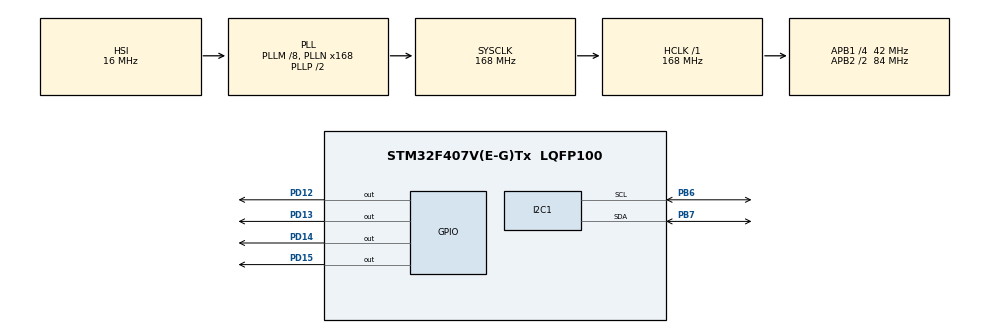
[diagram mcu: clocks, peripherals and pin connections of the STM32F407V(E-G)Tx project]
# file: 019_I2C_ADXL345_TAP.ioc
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I2C1.I2C_Mode=I2C_Fast
Mcu.Family=STM32F4
Mcu.Name=STM32F407V(E-G)Tx
Mcu.Package=LQFP100
NVIC.PriorityGroup=NVIC_PRIORITYGROUP_4
PB6.Mode=I2C
PB6.Signal=I2C1_SCL
PB7.Mode=I2C
PB7.Signal=I2C1_SDA
PD12.Signal=GPIO_Output
PD13.Signal=GPIO_Output
PD14.Signal=GPIO_Output
PD15.Signal=GPIO_Output
ProjectManager.HeapSize=0x200
ProjectManager.StackSize=0x400
ProjectManager.TargetToolchain=STM32CubeIDE
RCC.48MHZClocksFreq_Value=84000000
RCC.AHBFreq_Value=168000000
RCC.APB1CLKDivider=RCC_HCLK_DIV4
RCC.APB1Freq_Value=42000000
RCC.APB1TimFreq_Value=84000000
RCC.APB2CLKDivider=RCC_HCLK_DIV2
RCC.APB2Freq_Value=84000000
RCC.APB2TimFreq_Value=168000000
RCC.CortexFreq_Value=168000000
RCC.HCLKFreq_Value=168000000
RCC.HSE_VALUE=25000000
RCC.HSI_VALUE=16000000
RCC.LSE_VALUE=32768
RCC.PLLM=8
RCC.PLLN=168
RCC.SYSCLKFreq_VALUE=168000000
RCC.SYSCLKSource=RCC_SYSCLKSOURCE_PLLCLK
RCC.VCOOutputFreq_Value=336000000
board=custom

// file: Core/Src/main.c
/* USER CODE BEGIN Header */
/**
  ******************************************************************************
  * @file           : main.c
  * @brief          : Main program body
  ******************************************************************************
  * @attention
  *
  * Copyright (c) 2023 STMicroelectronics.
  * All rights reserved.
  *
  * This software is licensed under terms that can be found in the LICENSE file
  * in the root directory of this software component.
  * If no LICENSE file comes with this software, it is provided AS-IS.
  *
  ******************************************************************************
  */
/* USER CODE END Header */
#include "main.h"

/* USER CODE BEGIN Includes */
uint8_t address;
uint8_t myDatas[6];

int16_t x,y,z;
float x_converted;

uint8_t status;
uint8_t data_rec;

#define ADXL345_address 0xa6

/* USER CODE END Includes */

I2C_HandleTypeDef hi2c1;

/* USER CODE BEGIN PV */
void find_I2C_Address();
void ADXL345_Write(uint8_t wRegister, uint8_t value);
uint8_t ADXL345_Read(uint8_t rRegister, uint8_t numberOfBytes);
void ADXL345_Init();

/* USER CODE END PV */

void SystemClock_Config(void);
static void MX_GPIO_Init(void);
static void MX_I2C1_Init(void);

int main(void)
{

  /* MCU Configuration--------------------------------------------------------*/

  /* Reset of all peripherals, Initializes the Flash interface and the Systick. */
  HAL_Init();

  /* Configure the system clock */
  SystemClock_Config();

  /* Initialize all configured peripherals */
  MX_GPIO_Init();
  MX_I2C1_Init();
  /* USER CODE BEGIN 2 */
  find_I2C_Address();
  ADXL345_Init();

  /* USER CODE END 2 */

  /* Infinite loop */
  while (1)
  {

    /* USER CODE BEGIN 3 */
	 status = ADXL345_Read(0x30, 1);

	 if((status >> 5) & 0x01) // double tap control
		 HAL_GPIO_TogglePin(GPIOD, GPIO_PIN_13 | GPIO_PIN_15);

	 if((status >> 6) & 0x01) // single tap control
		 HAL_GPIO_TogglePin(GPIOD, GPIO_PIN_12 | GPIO_PIN_14);

  }
  /* USER CODE END 3 */
}

void SystemClock_Config(void)
{
  RCC_OscInitTypeDef RCC_OscInitStruct = {0};
  RCC_ClkInitTypeDef RCC_ClkInitStruct = {0};

  /** Configure the main internal regulator output voltage
  */
  __HAL_RCC_PWR_CLK_ENABLE();
  __HAL_PWR_VOLTAGESCALING_CONFIG(PWR_REGULATOR_VOLTAGE_SCALE1);

  /** Initializes the RCC Oscillators according to the specified parameters
  * in the RCC_OscInitTypeDef structure.
  */
  RCC_OscInitStruct.OscillatorType = RCC_OSCILLATORTYPE_HSI;
  RCC_OscInitStruct.HSIState = RCC_HSI_ON;
  RCC_OscInitStruct.HSICalibrationValue = RCC_HSICALIBRATION_DEFAULT;
  RCC_OscInitStruct.PLL.PLLState = RCC_PLL_ON;
  RCC_OscInitStruct.PLL.PLLSource = RCC_PLLSOURCE_HSI;
  RCC_OscInitStruct.PLL.PLLM = 8;
  RCC_OscInitStruct.PLL.PLLN = 168;
  RCC_OscInitStruct.PLL.PLLP = RCC_PLLP_DIV2;
  RCC_OscInitStruct.PLL.PLLQ = 4;
  if (HAL_RCC_OscConfig(&RCC_OscInitStruct) != HAL_OK)
  {
    Error_Handler();
  }

  /** Initializes the CPU, AHB and APB buses clocks
  */
  RCC_ClkInitStruct.ClockType = RCC_CLOCKTYPE_HCLK|RCC_CLOCKTYPE_SYSCLK
                              |RCC_CLOCKTYPE_PCLK1|RCC_CLOCKTYPE_PCLK2;
  RCC_ClkInitStruct.SYSCLKSource = RCC_SYSCLKSOURCE_PLLCLK;
  RCC_ClkInitStruct.AHBCLKDivider = RCC_SYSCLK_DIV1;
  RCC_ClkInitStruct.APB1CLKDivider = RCC_HCLK_DIV4;
  RCC_ClkInitStruct.APB2CLKDivider = RCC_HCLK_DIV2;

  if (HAL_RCC_ClockConfig(&RCC_ClkInitStruct, FLASH_LATENCY_5) != HAL_OK)
  {
    Error_Handler();
  }
}

static void MX_I2C1_Init(void)
{

  hi2c1.Instance = I2C1;
  hi2c1.Init.ClockSpeed = 400000;
  hi2c1.Init.DutyCycle = I2C_DUTYCYCLE_2;
  hi2c1.Init.OwnAddress1 = 0;
  hi2c1.Init.AddressingMode = I2C_ADDRESSINGMODE_7BIT;
  hi2c1.Init.DualAddressMode = I2C_DUALADDRESS_DISABLE;
  hi2c1.Init.OwnAddress2 = 0;
  hi2c1.Init.GeneralCallMode = I2C_GENERALCALL_DISABLE;
  hi2c1.Init.NoStretchMode = I2C_NOSTRETCH_DISABLE;
  if (HAL_I2C_Init(&hi2c1) != HAL_OK)
  {
    Error_Handler();
  }

}

static void MX_GPIO_Init(void)
{
  GPIO_InitTypeDef GPIO_InitStruct = {0};

  /* GPIO Ports Clock Enable */
  __HAL_RCC_GPIOD_CLK_ENABLE();
  __HAL_RCC_GPIOB_CLK_ENABLE();

  /*Configure GPIO pin Output Level */
  HAL_GPIO_WritePin(GPIOD, GPIO_PIN_12|GPIO_PIN_13|GPIO_PIN_14|GPIO_PIN_15, GPIO_PIN_RESET);

  /*Configure GPIO pins : PD12 PD13 PD14 PD15 */
  GPIO_InitStruct.Pin = GPIO_PIN_12|GPIO_PIN_13|GPIO_PIN_14|GPIO_PIN_15;
  GPIO_InitStruct.Mode = GPIO_MODE_OUTPUT_PP;
  GPIO_InitStruct.Pull = GPIO_NOPULL;
  GPIO_InitStruct.Speed = GPIO_SPEED_FREQ_LOW;
  HAL_GPIO_Init(GPIOD, &GPIO_InitStruct);

}

/* USER CODE BEGIN 4 */
void find_I2C_Address()
{
	for(address = 0; address <= 255; address++)
	{
		if(HAL_I2C_IsDeviceReady(&hi2c1, address, 1, 100) == HAL_OK)
		{
			HAL_GPIO_TogglePin(GPIOD, GPIO_PIN_15);
			break;
		}
	}
}

void ADXL345_Write(uint8_t wRegister, uint8_t value)
{
	uint8_t data[2] ={0};
	data[0] = wRegister;
	data[1] = value;

	HAL_I2C_Master_Transmit(&hi2c1, ADXL345_address, data, 2, 100);
}

void ADXL345_Init()
{
	ADXL345_Read(0x00, 1);
	ADXL345_Write(0x2d, 0);
	ADXL345_Write(0x2d, 0x08);

	ADXL345_Write(0x2a, 0x01);

	ADXL345_Write(0x1d, 40);

	ADXL345_Write(0x21, 32);

	ADXL345_Write(0x22, 80);

	ADXL345_Write(0x2f, 0x00);

	ADXL345_Write(0x2e, 0x60);

}

uint8_t ADXL345_Read(uint8_t rRegister, uint8_t numberOfBytes)
{
	HAL_I2C_Mem_Read(&hi2c1, ADXL345_address, rRegister, 1, &data_rec, numberOfBytes, 100);
	data_rec;

}

/* USER CODE END 4 */

void Error_Handler(void)
{
  __disable_irq();
  while (1)
  {
  }
}
